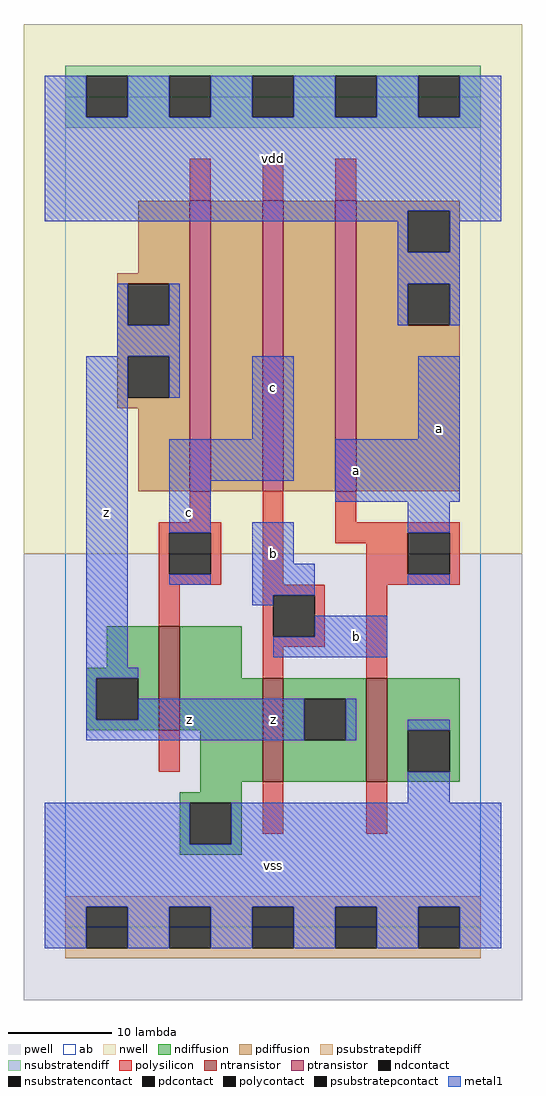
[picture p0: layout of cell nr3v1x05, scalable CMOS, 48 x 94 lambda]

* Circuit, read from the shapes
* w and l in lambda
.subckt nr3v1x05 a b c vdd vss z
M1 vss c z vss nfet w=10 l=2
M2 z b vss vss nfet w=10 l=2
M3 vss a z vss nfet w=10 l=2
M4 n1 c z vdd pfet w=28 l=2
M5 n2 b n1 vdd pfet w=28 l=2
M6 vdd a n2 vdd pfet w=28 l=2
.ends

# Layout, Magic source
magic
tech scmos
<< ab >>
rect 0 0 40 80
<< pwell >>
rect -4 -7 44 36
<< nwell >>
rect -4 36 44 87
<< polysilicon >>
rect 12 70 14 74
rect 19 70 21 74
rect 26 70 28 74
rect 12 39 14 42
rect 9 38 15 39
rect 9 34 10 38
rect 14 34 15 38
rect 9 33 15 34
rect 19 33 21 42
rect 26 39 28 42
rect 26 38 38 39
rect 26 37 33 38
rect 29 34 33 37
rect 37 34 38 38
rect 29 33 38 34
rect 9 29 11 33
rect 19 32 25 33
rect 19 28 20 32
rect 24 28 25 32
rect 19 27 25 28
rect 19 24 21 27
rect 29 24 31 33
rect 9 15 11 19
rect 19 9 21 14
rect 29 9 31 14
<< ndiffusion >>
rect 4 25 9 29
rect 2 24 9 25
rect 2 20 3 24
rect 7 20 9 24
rect 2 19 9 20
rect 11 24 17 29
rect 11 19 19 24
rect 13 14 19 19
rect 21 22 29 24
rect 21 18 23 22
rect 27 18 29 22
rect 21 14 29 18
rect 31 19 38 24
rect 31 15 33 19
rect 37 15 38 19
rect 31 14 38 15
rect 13 13 17 14
rect 11 12 17 13
rect 11 8 12 12
rect 16 8 17 12
rect 11 7 17 8
<< pdiffusion >>
rect 7 63 12 70
rect 5 62 12 63
rect 5 58 6 62
rect 10 58 12 62
rect 5 55 12 58
rect 5 51 6 55
rect 10 51 12 55
rect 5 50 12 51
rect 7 42 12 50
rect 14 42 19 70
rect 21 42 26 70
rect 28 69 38 70
rect 28 65 33 69
rect 37 65 38 69
rect 28 62 38 65
rect 28 58 33 62
rect 37 58 38 62
rect 28 42 38 58
<< metal1 >>
rect -2 78 2 82
rect 6 78 10 82
rect 14 78 18 82
rect 22 78 26 82
rect 30 78 34 82
rect 38 78 42 82
rect -2 69 42 78
rect -2 68 33 69
rect 32 65 33 68
rect 37 68 42 69
rect 37 65 38 68
rect 32 62 38 65
rect 5 58 6 62
rect 10 58 11 62
rect 32 58 33 62
rect 37 58 38 62
rect 5 55 11 58
rect 2 25 6 55
rect 10 51 11 55
rect 18 47 22 55
rect 34 47 38 55
rect 10 43 22 47
rect 10 38 14 43
rect 26 41 38 47
rect 10 33 14 34
rect 18 35 22 39
rect 33 38 37 41
rect 18 32 24 35
rect 33 33 37 34
rect 18 31 20 32
rect 24 28 31 30
rect 20 26 31 28
rect 2 24 7 25
rect 2 20 3 24
rect 7 20 23 22
rect 2 18 23 20
rect 27 18 28 22
rect 33 19 37 20
rect 33 12 37 15
rect -2 8 12 12
rect 16 8 42 12
rect -2 2 42 8
rect -2 -2 2 2
rect 6 -2 10 2
rect 14 -2 18 2
rect 22 -2 26 2
rect 30 -2 34 2
rect 38 -2 42 2
<< ntransistor >>
rect 9 19 11 29
rect 19 14 21 24
rect 29 14 31 24
<< ptransistor >>
rect 12 42 14 70
rect 19 42 21 70
rect 26 42 28 70
<< polycontact >>
rect 10 34 14 38
rect 33 34 37 38
rect 20 28 24 32
<< ndcontact >>
rect 3 20 7 24
rect 23 18 27 22
rect 33 15 37 19
rect 12 8 16 12
<< pdcontact >>
rect 6 58 10 62
rect 6 51 10 55
rect 33 65 37 69
rect 33 58 37 62
<< psubstratepcontact >>
rect 2 -2 6 2
rect 10 -2 14 2
rect 18 -2 22 2
rect 26 -2 30 2
rect 34 -2 38 2
<< nsubstratencontact >>
rect 2 78 6 82
rect 10 78 14 82
rect 18 78 22 82
rect 26 78 30 82
rect 34 78 38 82
<< psubstratepdiff >>
rect 0 2 40 3
rect 0 -2 2 2
rect 6 -2 10 2
rect 14 -2 18 2
rect 22 -2 26 2
rect 30 -2 34 2
rect 38 -2 40 2
rect 0 -3 40 -2
<< nsubstratendiff >>
rect 0 82 40 83
rect 0 78 2 82
rect 6 78 10 82
rect 14 78 18 82
rect 22 78 26 82
rect 30 78 34 82
rect 38 78 40 82
rect 0 77 40 78
<< labels >>
rlabel metal1 4 40 4 40 6 z
rlabel metal1 12 20 12 20 6 z
rlabel metal1 12 40 12 40 6 c
rlabel metal1 20 6 20 6 6 vss
rlabel metal1 20 6 20 6 6 vss
rlabel metal1 20 20 20 20 6 z
rlabel metal1 20 36 20 36 6 b
rlabel metal1 28 28 28 28 6 b
rlabel metal1 28 44 28 44 6 a
rlabel metal1 20 52 20 52 6 c
rlabel metal1 20 74 20 74 6 vdd
rlabel metal1 20 74 20 74 6 vdd
rlabel metal1 36 48 36 48 6 a
<< end >>
